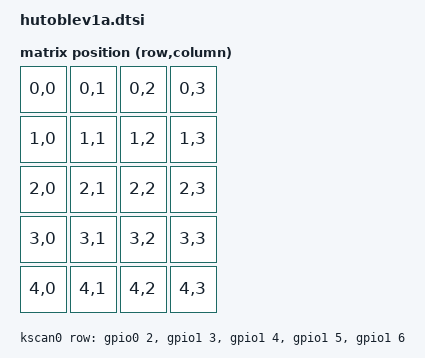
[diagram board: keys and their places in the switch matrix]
/*
 * Copyright (c) 2022 The ZMK Contributors
 *
 * SPDX-License-Identifier: MIT
 */

#include <dt-bindings/zmk/matrix_transform.h>

/ {
    chosen {
        zmk,kscan = &kscan0;
        zmk,matrix_transform = &default_transform;
    };

    default_transform: keymap_transform_0 {
        compatible = "zmk,matrix-transform";
        columns = <4>;
        rows = <5>;
        map = <
        RC(0,0) RC(0,1) RC(0,2) RC(0,3) 
        RC(1,0) RC(1,1) RC(1,2) RC(1,3) 
        RC(2,0) RC(2,1) RC(2,2) RC(2,3) 
        RC(3,0) RC(3,1) RC(3,2) RC(3,3)
        RC(4,0) RC(4,1) RC(4,2) RC(4,3) 
        >;
    };


    kscan0: kscan_0 {
        compatible = "zmk,kscan-gpio-matrix";
        label = "KSCAN";
        
        diode-direction = "col2row"; 
        row-gpios
            = <&gpio0 2 (GPIO_ACTIVE_HIGH | GPIO_PULL_DOWN)>
            , <&gpio1 3 (GPIO_ACTIVE_HIGH | GPIO_PULL_DOWN)>
            , <&gpio1 4 (GPIO_ACTIVE_HIGH | GPIO_PULL_DOWN)>
            , <&gpio1 5 (GPIO_ACTIVE_HIGH | GPIO_PULL_DOWN)>
            , <&gpio1 6 (GPIO_ACTIVE_HIGH | GPIO_PULL_DOWN)>
            ;
    };
};

&xiao_spi { status = "disabled"; };
&xiao_i2c { status = "disabled"; };
&xiao_serial { status = "disabled"; };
